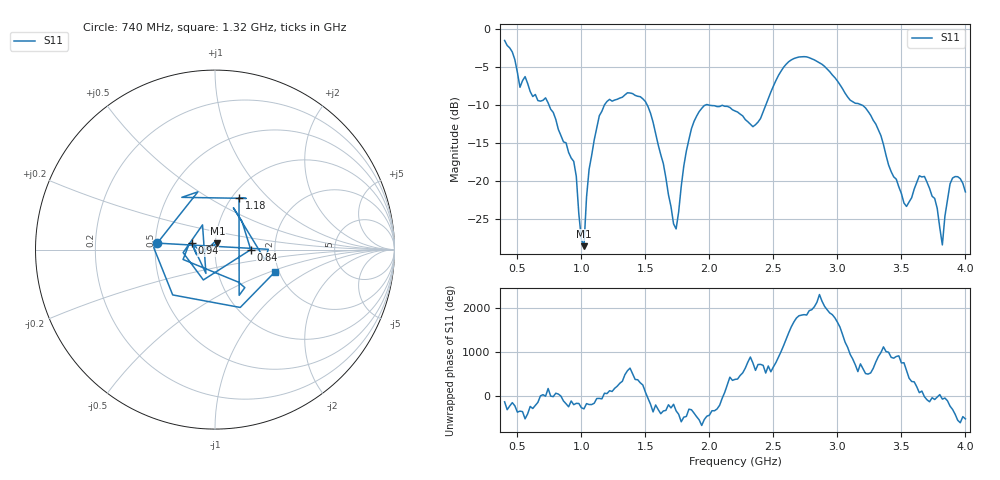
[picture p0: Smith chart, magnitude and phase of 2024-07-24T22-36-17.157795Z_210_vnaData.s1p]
!Created with skrf (http://scikit-rf.org).
# Hz S RI R 50.0
!freq ReS11 ImS11
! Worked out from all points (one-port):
!   181 points, 400 MHz to 4 GHz, reference 50 ohm
!   lowest |S11| = -28.6 dB at 1.02 GHz (marker M1), VSWR 1.08, Z = 51.2 + j3.58 ohm
!   |S11| at or under -10 dB: 1.514 GHz to 1.968 GHz (454 MHz wide, 26.1 % of centre); 1.996 GHz to 2.44 GHz (443.5 MHz wide, 20 % of centre); 3.191 GHz to end of sweep (the widest 3 of 4)
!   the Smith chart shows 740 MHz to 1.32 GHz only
!   S11 on the Smith chart (normalised r, x): 740 MHz: 0.51, +0.04; 840 MHz: 1.50, -0.00; 940 MHz: 0.77, +0.06; 1.18 GHz: 1.08, +0.69; 1.32 GHz: 1.90, -0.54
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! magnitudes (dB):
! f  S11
! 400 MHz  -1.5
! 520 MHz  -7.7
! 740 MHz  -9.7
! 840 MHz  -14.0
! 860 MHz  -14.8
! 940 MHz  -17.4
! 1.02 GHz  -28.6
! 1.06 GHz  -18.5
! 1.18 GHz  -10.0
! 1.3 GHz  -9.1
! 1.32 GHz  -9.0
! 1.52 GHz  -10.2
! 1.72 GHz  -25.6
! 1.76 GHz  -24.0
! 1.82 GHz  -16.0
! 1.9 GHz  -11.5
! 2.2 GHz  -10.8
! 2.36 GHz  -12.6
! 2.66 GHz  -3.9
! 2.88 GHz  -4.6
! 3.1 GHz  -9.4
! 3.3 GHz  -12.5
! 3.56 GHz  -22.8
! 3.68 GHz  -19.4
! 3.76 GHz  -22.3
! 3.82 GHz  -28.4
! 3.9 GHz  -19.6
! 4 GHz  -21.4
